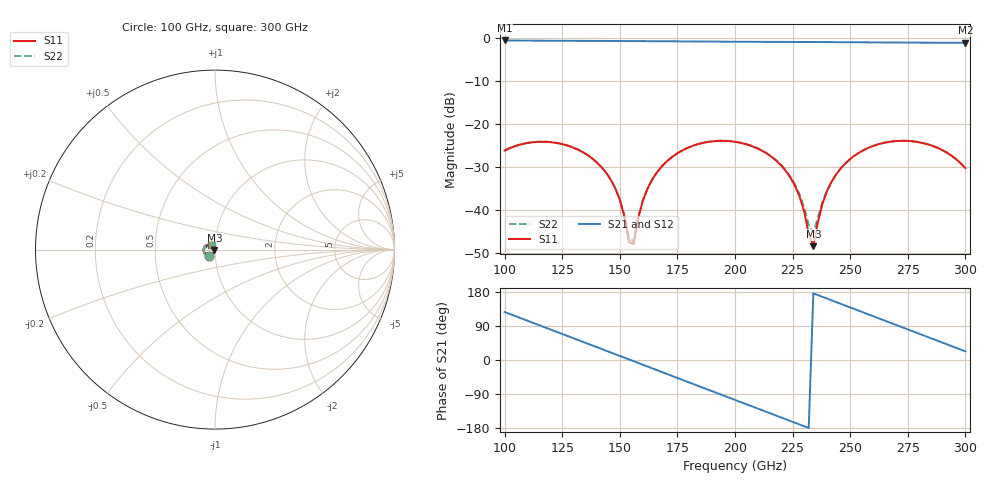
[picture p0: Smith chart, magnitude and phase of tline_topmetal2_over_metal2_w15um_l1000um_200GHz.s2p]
#  GHZ S DB R 50
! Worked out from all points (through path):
!   101 points, 100 GHz to 300 GHz, reference 50 ohm
!   highest |S21| = -0.57 dB at 100 GHz (marker M1); lowest = -1.1 dB at 300 GHz (marker M2)
!   group delay of S21, straight-line fit = 6.44 ps
!   lowest |S11| = -48.4 dB at 234 GHz (marker M3), VSWR 1.01, Z = 49.6 - j0.137 ohm
!   |S11| at or under -10 dB: start of sweep to end of sweep
!   |S22| runs from -47.3 to -23.9 dB; largest |S21 - S12| = 1.1e-14
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100  -26.20 -132.8  -0.57 126.7  -0.57 126.7  -26.17 -132.3
116  -24.15 -169.8  -0.63 89.6  -0.63 89.6  -24.12 -169.0
134  -26.59 149.8  -0.67 47.9  -0.67 47.9  -26.55 150.9
146  -32.93 126.5  -0.69 20.0  -0.69 20.0  -32.86 128.3
150  -37.66 123.3  -0.70 10.7  -0.70 10.7  -37.52 125.8
154  -47.51 150.0  -0.71 1.4  -0.71 1.4  -46.78 153.5
156  -47.96 -138.8  -0.72 -3.2  -0.72 -3.2  -47.30 -141.7
160  -37.85 -108.6  -0.73 -12.5  -0.73 -12.5  -37.78 -109.5
168  -30.03 -118.3  -0.75 -31.1  -0.75 -31.1  -30.00 -117.9
184  -24.70 -152.0  -0.81 -68.3  -0.81 -68.3  -24.66 -151.0
200  -24.16 172.6  -0.87 -105.3  -0.87 -105.3  -24.12 174.2
212  -26.32 146.6  -0.90 -133.1  -0.90 -133.1  -26.25 148.9
222  -30.90 127.1  -0.92 -156.2  -0.92 -156.2  -30.76 130.8
228  -36.84 120.7  -0.93 -170.2  -0.93 -170.2  -36.43 127.4
232  -45.55 140.1  -0.94 -179.5  -0.94 -179.5  -43.51 150.6
234  -48.44 -158.7  -0.94 175.9  -0.94 175.9  -45.32 -165.4
238  -38.52 -113.8  -0.95 166.6  -0.95 166.6  -38.14 -121.0
244  -31.67 -117.6  -0.97 152.6  -0.97 152.6  -31.60 -120.6
254  -26.65 -136.4  -1.00 129.4  -1.00 129.4  -26.62 -137.7
268  -24.09 -166.0  -1.05 96.9  -1.05 96.9  -24.07 -166.6
284  -24.79 160.2  -1.09 59.9  -1.09 59.9  -24.79 159.6
300  -30.29 131.2  -1.12 22.8  -1.12 22.8  -30.39 129.0
